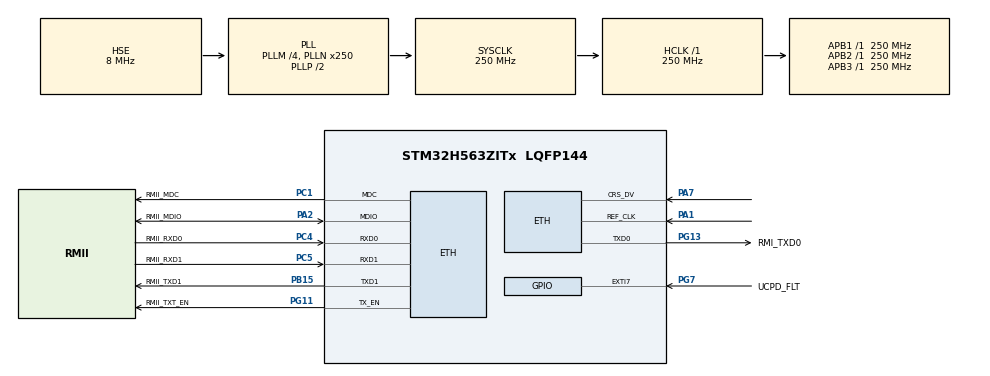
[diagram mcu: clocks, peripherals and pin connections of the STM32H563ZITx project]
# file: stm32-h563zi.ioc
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BOOTPATH.BootPathName=LEGACY
BOOTPATH.UserSelectedBootPath=LEGACY
CORTEX_M33_NS.userName=CORTEX_M33
ETH.MediaInterface=HAL_ETH_RMII_MODE
Mcu.Family=STM32H5
Mcu.Name=STM32H563ZITx
Mcu.Package=LQFP144
NVIC.PriorityGroup=NVIC_PRIORITYGROUP_4
PA1.Mode=RMII
PA1.Signal=ETH_REF_CLK
PA11.GPIO_Label=USB_FS_N
PA11.Signal=USB_DM
PA12.GPIO_Label=USB_FS_P
PA12.Signal=USB_DP
PA13(JTMS/SWDIO).GPIO_Label=SWDIO
PA13(JTMS/SWDIO).Signal=DEBUG_JTMS-SWDIO
PA14(JTCK/SWCLK).GPIO_Label=SWCLK
PA14(JTCK/SWCLK).Signal=DEBUG_JTCK-SWCLK
PA15(JTDI).GPIO_Label=T_JTDI
PA15(JTDI).Signal=DEBUG_JTDI
PA2.GPIO_Label=RMII_MDIO
PA2.GPIO_Mode=GPIO_MODE_AF_PP
PA2.GPIO_PuPd=GPIO_NOPULL
PA2.GPIO_Speed=GPIO_SPEED_FREQ_LOW
PA2.Mode=RMII
PA2.Signal=ETH_MDIO
PA4.GPIO_Label=VBUS_SENSE
PA4.Signal=ADCx_INP18
PA7.Mode=RMII
PA7.Signal=ETH_CRS_DV
PA9.GPIO_Label=UCDP_DBn
PA9.Signal=UCPD1_DB1
PB13.GPIO_Label=UCPD_CC1
PB13.Signal=UCPD1_CC1
PB14.GPIO_Label=UCPD_CC2
PB14.Signal=UCPD1_CC2
PB15.GPIO_Label=RMII_TXD1
PB15.GPIO_Mode=GPIO_MODE_AF_PP
PB15.GPIO_PuPd=GPIO_NOPULL
PB15.GPIO_Speed=GPIO_SPEED_FREQ_LOW
PB15.Mode=RMII
PB15.Signal=ETH_TXD1
PB3(JTDO/TRACESWO).GPIO_Label=SWO
PB3(JTDO/TRACESWO).Signal=DEBUG_JTDO-SWO
PB6.GPIO_Label=ARD_D1_TX
PB6.Signal=LPUART1_TX
PB7.GPIO_Label=ARD_D0_RX
PB7.Signal=LPUART1_RX
PC1.GPIO_Label=RMII_MDC
PC1.GPIO_Mode=GPIO_MODE_AF_PP
PC1.GPIO_PuPd=GPIO_NOPULL
PC1.GPIO_Speed=GPIO_SPEED_FREQ_LOW
PC1.Mode=RMII
PC1.Signal=ETH_MDC
PC14-OSC32_IN(OSC32_IN).Mode=LSE-External-Oscillator
PC14-OSC32_IN(OSC32_IN).Signal=RCC_OSC32_IN
PC15-OSC32_OUT(OSC32_OUT).Mode=LSE-External-Oscillator
PC15-OSC32_OUT(OSC32_OUT).Signal=RCC_OSC32_OUT
PC4.GPIO_Label=RMII_RXD0
PC4.GPIO_Mode=GPIO_MODE_AF_PP
PC4.GPIO_PuPd=GPIO_NOPULL
PC4.GPIO_Speed=GPIO_SPEED_FREQ_LOW
PC4.Mode=RMII
PC4.Signal=ETH_RXD0
PC5.GPIO_Label=RMII_RXD1
PC5.GPIO_Mode=GPIO_MODE_AF_PP
PC5.GPIO_PuPd=GPIO_NOPULL
PC5.GPIO_Speed=GPIO_SPEED_FREQ_LOW
PC5.Mode=RMII
PC5.Signal=ETH_RXD1
PD8.Signal=USART3_TX
PD9.Signal=USART3_RX
PE2.GPIO_Label=TRACE_CK
PE2.Signal=DEBUG_TRACECLK
PE3.GPIO_Label=TRACE_D0
PE3.Signal=DEBUG_TRACED0
PE4.GPIO_Label=TRACE_D1
PE4.Signal=DEBUG_TRACED1
PE5.GPIO_Label=TRACE_D2
PE5.Signal=DEBUG_TRACED2
PE6.GPIO_Label=TRACE_D3
PE6.Signal=DEBUG_TRACED3
PG11.GPIO_Label=RMII_TXT_EN
PG11.GPIO_Mode=GPIO_MODE_AF_PP
PG11.GPIO_PuPd=GPIO_NOPULL
PG11.GPIO_Speed=GPIO_SPEED_FREQ_LOW
PG11.Mode=RMII
PG11.Signal=ETH_TX_EN
PG13.GPIO_Label=RMI_TXD0
PG13.GPIO_Mode=GPIO_MODE_AF_PP
PG13.GPIO_PuPd=GPIO_NOPULL
PG13.GPIO_Speed=GPIO_SPEED_FREQ_LOW
PG13.Mode=RMII
PG13.Signal=ETH_TXD0
PG7.GPIO_Label=UCPD_FLT
PG7.Signal=GPXTI7
PH0-OSC_IN(PH0).GPIO_Label=STLK_MCO
PH0-OSC_IN(PH0).Mode=HSE-External-Clock-Source
PH0-OSC_IN(PH0).Signal=RCC_OSC_IN
ProjectManager.HeapSize=0x200
ProjectManager.StackSize=0x400
ProjectManager.TargetToolchain=CMake
RCC.ADCFreq_Value=250000000
RCC.AHBFreq_Value=250000000
RCC.APB1Freq_Value=250000000
RCC.APB1TimFreq_Value=250000000
RCC.APB2Freq_Value=250000000
RCC.APB2TimFreq_Value=250000000
RCC.APB3Freq_Value=250000000
RCC.CSI_VALUE=4000000
RCC.CortexFreq_Value=250000000
RCC.EPOD_VALUE=8000000
RCC.HCLKFreq_Value=250000000
RCC.HSE_VALUE=8000000
RCC.HSI48_VALUE=48000000
RCC.HSIDiv=RCC_HSI_DIV1
RCC.HSI_VALUE=64000000
RCC.LSIRC_VALUE=32000
RCC.PLLM=4
RCC.PLLN=250
RCC.PLLSourceVirtual=RCC_PLL1_SOURCE_HSE
RCC.SYSCLKFreq_VALUE=250000000
RCC.SYSCLKSource=RCC_SYSCLKSOURCE_PLLCLK
RCC.USBFreq_Value=48000000
RCC.VCOOutputFreq_Value=500000000
SH.ADCx_INP18.0=ADC1_INP18
VP_BOOTPATH_VS_BOOTPATH.Mode=BP_Activate
VP_CORTEX_M33_NS_VS_Hclk.Mode=Hclk_Mode
VP_FLASH_SIG_Activate_FlashIP.Mode=Activate_FlashIP
VP_ICACHE_VS_ICACHE.Mode=DirectMappedCache
VP_MEMORYMAP_VS_MEMORYMAP.Mode=CurAppReg
VP_PWR_VS_DBSignals.Mode=DisableDeadBatterySignals
VP_PWR_VS_LPOM.Mode=PowerOptimisation
VP_PWR_VS_SECSignals.Mode=Security/Privilege
board=NUCLEO-H563ZI

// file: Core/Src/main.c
/* USER CODE BEGIN Header */
/**
 ******************************************************************************
 * @file           : main.c
 * @brief          : Main program body
 ******************************************************************************
 * @attention
 *
 * Copyright (c) 2025 STMicroelectronics.
 * All rights reserved.
 *
 * This software is licensed under terms that can be found in the LICENSE file
 * in the root directory of this software component.
 * If no LICENSE file comes with this software, it is provided AS-IS.
 *
 ******************************************************************************
 */
/* USER CODE END Header */
#include "main.h"
#include "string.h"

/* USER CODE BEGIN Includes */
#include "ethernetif.h"
#include "lwip.h"
#include "lwip/init.h"
#include "lwip/netif.h"
#include "lwip/opt.h"
#include "lwip/timeouts.h"
#include "netif/etharp.h"
#if LWIP_DHCP
#include "lwip/dhcp.h"
#endif
#include <stdbool.h>
/* USER CODE END Includes */

ETH_TxPacketConfigTypeDef TxConfig;
ETH_DMADescTypeDef DMARxDscrTab[ETH_RX_DESC_CNT]; /* Ethernet Rx DMA Descriptors */
ETH_DMADescTypeDef DMATxDscrTab[ETH_TX_DESC_CNT]; /* Ethernet Tx DMA Descriptors */

ETH_HandleTypeDef heth;

/* USER CODE BEGIN PV */
extern struct netif gnetif;
/* USER CODE END PV */

void SystemClock_Config(void);
static void MX_GPIO_Init(void);
// static void MX_ETH_Init(void);
static void MX_FLASH_Init(void);
static void MX_ICACHE_Init(void);
/* USER CODE BEGIN PFP */
static void Netif_Config(void);
/* USER CODE END PFP */

int main(void)
{

    /* MCU Configuration--------------------------------------------------------*/

    /* Reset of all peripherals, Initializes the Flash interface and the Systick. */
    HAL_Init();

    /* Configure the system clock */
    SystemClock_Config();

    /* Initialize all configured peripherals */
    MX_GPIO_Init();
    MX_ETH_Init();
    MX_FLASH_Init();
    MX_ICACHE_Init();
    /* USER CODE BEGIN 2 */
    lwip_init();
    Netif_Config();
    /* USER CODE END 2 */

    /* Infinite loop */
    /* USER CODE BEGIN WHILE */
    BSP_LED_On(LED_GREEN);
    while (1) {
        /* USER CODE END WHILE */

        /* USER CODE BEGIN 3 */

        /* Read a received packet from the Ethernet buffers and send it
            to the lwIP for handling */
        ethernetif_input(&gnetif);

        /* Handle timeouts */
        sys_check_timeouts();

#if LWIP_NETIF_LINK_CALLBACK
        Ethernet_Link_Periodic_Handle(&gnetif);
#endif

#if LWIP_DHCP
        DHCP_Periodic_Handle(&gnetif);
#endif
    }
    /* USER CODE END 3 */
}

void SystemClock_Config(void)
{
    RCC_OscInitTypeDef RCC_OscInitStruct = { 0 };
    RCC_ClkInitTypeDef RCC_ClkInitStruct = { 0 };

    /** Configure the main internal regulator output voltage
     */
    __HAL_PWR_VOLTAGESCALING_CONFIG(PWR_REGULATOR_VOLTAGE_SCALE0);

    while (!__HAL_PWR_GET_FLAG(PWR_FLAG_VOSRDY)) { }

    /** Initializes the RCC Oscillators according to the specified parameters
     * in the RCC_OscInitTypeDef structure.
     */
    RCC_OscInitStruct.OscillatorType = RCC_OSCILLATORTYPE_HSE;
    RCC_OscInitStruct.HSEState = RCC_HSE_BYPASS;
    RCC_OscInitStruct.PLL.PLLState = RCC_PLL_ON;
    RCC_OscInitStruct.PLL.PLLSource = RCC_PLL1_SOURCE_HSE;
    RCC_OscInitStruct.PLL.PLLM = 4;
    RCC_OscInitStruct.PLL.PLLN = 250;
    RCC_OscInitStruct.PLL.PLLP = 2;
    RCC_OscInitStruct.PLL.PLLQ = 2;
    RCC_OscInitStruct.PLL.PLLR = 2;
    RCC_OscInitStruct.PLL.PLLRGE = RCC_PLL1_VCIRANGE_1;
    RCC_OscInitStruct.PLL.PLLVCOSEL = RCC_PLL1_VCORANGE_WIDE;
    RCC_OscInitStruct.PLL.PLLFRACN = 0;
    if (HAL_RCC_OscConfig(&RCC_OscInitStruct) != HAL_OK) {
        Error_Handler();
    }

    /** Initializes the CPU, AHB and APB buses clocks
     */
    RCC_ClkInitStruct.ClockType = RCC_CLOCKTYPE_HCLK | RCC_CLOCKTYPE_SYSCLK
        | RCC_CLOCKTYPE_PCLK1 | RCC_CLOCKTYPE_PCLK2
        | RCC_CLOCKTYPE_PCLK3;
    RCC_ClkInitStruct.SYSCLKSource = RCC_SYSCLKSOURCE_PLLCLK;
    RCC_ClkInitStruct.AHBCLKDivider = RCC_SYSCLK_DIV1;
    RCC_ClkInitStruct.APB1CLKDivider = RCC_HCLK_DIV1;
    RCC_ClkInitStruct.APB2CLKDivider = RCC_HCLK_DIV1;
    RCC_ClkInitStruct.APB3CLKDivider = RCC_HCLK_DIV1;

    if (HAL_RCC_ClockConfig(&RCC_ClkInitStruct, FLASH_LATENCY_5) != HAL_OK) {
        Error_Handler();
    }

    /** Configure the programming delay
     */
    __HAL_FLASH_SET_PROGRAM_DELAY(FLASH_PROGRAMMING_DELAY_2);
}

void MX_ETH_Init(void)
{

    static uint8_t MACAddr[6];

    heth.Instance = ETH;
    MACAddr[0] = 0x00;
    MACAddr[1] = 0x80;
    MACAddr[2] = 0xE1;
    MACAddr[3] = 0x00;
    MACAddr[4] = 0x00;
    MACAddr[5] = 0x00;
    heth.Init.MACAddr = &MACAddr[0];
    heth.Init.MediaInterface = HAL_ETH_RMII_MODE;
    heth.Init.TxDesc = DMATxDscrTab;
    heth.Init.RxDesc = DMARxDscrTab;
    heth.Init.RxBuffLen = 1524;

    if (HAL_ETH_Init(&heth) != HAL_OK) {
        Error_Handler();
    }

    memset(&TxConfig, 0, sizeof(ETH_TxPacketConfigTypeDef));
    TxConfig.Attributes = ETH_TX_PACKETS_FEATURES_CSUM | ETH_TX_PACKETS_FEATURES_CRCPAD;
    TxConfig.ChecksumCtrl = ETH_CHECKSUM_IPHDR_PAYLOAD_INSERT_PHDR_CALC;
    TxConfig.CRCPadCtrl = ETH_CRC_PAD_INSERT;
}

static void MX_FLASH_Init(void)
{

    if (HAL_FLASH_Unlock() != HAL_OK) {
        Error_Handler();
    }
    if (HAL_FLASH_Lock() != HAL_OK) {
        Error_Handler();
    }
}

static void MX_ICACHE_Init(void)
{

    /** Enable instruction cache in 1-way (direct mapped cache)
     */
    if (HAL_ICACHE_ConfigAssociativityMode(ICACHE_1WAY) != HAL_OK) {
        Error_Handler();
    }
    if (HAL_ICACHE_Enable() != HAL_OK) {
        Error_Handler();
    }
}

static void MX_GPIO_Init(void)
{
    GPIO_InitTypeDef GPIO_InitStruct = { 0 };

    /* GPIO Ports Clock Enable */
    __HAL_RCC_GPIOE_CLK_ENABLE();
    __HAL_RCC_GPIOC_CLK_ENABLE();
    __HAL_RCC_GPIOH_CLK_ENABLE();
    __HAL_RCC_GPIOA_CLK_ENABLE();
    __HAL_RCC_GPIOB_CLK_ENABLE();
    __HAL_RCC_GPIOD_CLK_ENABLE();
    __HAL_RCC_GPIOG_CLK_ENABLE();

    /*Configure GPIO pin : VBUS_SENSE_Pin */
    GPIO_InitStruct.Pin = VBUS_SENSE_Pin;
    GPIO_InitStruct.Mode = GPIO_MODE_ANALOG;
    GPIO_InitStruct.Pull = GPIO_NOPULL;
    HAL_GPIO_Init(VBUS_SENSE_GPIO_Port, &GPIO_InitStruct);

    /*Configure GPIO pins : UCPD_CC1_Pin UCPD_CC2_Pin */
    GPIO_InitStruct.Pin = UCPD_CC1_Pin | UCPD_CC2_Pin;
    GPIO_InitStruct.Mode = GPIO_MODE_ANALOG;
    GPIO_InitStruct.Pull = GPIO_NOPULL;
    HAL_GPIO_Init(GPIOB, &GPIO_InitStruct);

    /*Configure GPIO pins : PD8 PD9 */
    GPIO_InitStruct.Pin = GPIO_PIN_8 | GPIO_PIN_9;
    GPIO_InitStruct.Mode = GPIO_MODE_AF_PP;
    GPIO_InitStruct.Pull = GPIO_NOPULL;
    GPIO_InitStruct.Speed = GPIO_SPEED_FREQ_LOW;
    GPIO_InitStruct.Alternate = GPIO_AF7_USART3;
    HAL_GPIO_Init(GPIOD, &GPIO_InitStruct);

    /*Configure GPIO pin : UCPD_FLT_Pin */
    GPIO_InitStruct.Pin = UCPD_FLT_Pin;
    GPIO_InitStruct.Mode = GPIO_MODE_IT_RISING;
    GPIO_InitStruct.Pull = GPIO_NOPULL;
    HAL_GPIO_Init(UCPD_FLT_GPIO_Port, &GPIO_InitStruct);

    /*Configure GPIO pins : USB_FS_N_Pin USB_FS_P_Pin */
    GPIO_InitStruct.Pin = USB_FS_N_Pin | USB_FS_P_Pin;
    GPIO_InitStruct.Mode = GPIO_MODE_AF_PP;
    GPIO_InitStruct.Pull = GPIO_NOPULL;
    GPIO_InitStruct.Speed = GPIO_SPEED_FREQ_LOW;
    GPIO_InitStruct.Alternate = GPIO_AF10_USB;
    HAL_GPIO_Init(GPIOA, &GPIO_InitStruct);

    /*Configure GPIO pins : ARD_D1_TX_Pin ARD_D0_RX_Pin */
    GPIO_InitStruct.Pin = ARD_D1_TX_Pin | ARD_D0_RX_Pin;
    GPIO_InitStruct.Mode = GPIO_MODE_AF_PP;
    GPIO_InitStruct.Pull = GPIO_NOPULL;
    GPIO_InitStruct.Speed = GPIO_SPEED_FREQ_LOW;
    GPIO_InitStruct.Alternate = GPIO_AF8_LPUART1;
    HAL_GPIO_Init(GPIOB, &GPIO_InitStruct);

}

/* USER CODE BEGIN 4 */
/**
 * @brief  Setup the network interface
 */
static void Netif_Config(void)
{
    ip_addr_t ipaddr;
    ip_addr_t netmask;
    ip_addr_t gw;

    /* IP address default setting */
    IP4_ADDR(&ipaddr, IP_ADDR0, IP_ADDR1, IP_ADDR2, IP_ADDR3);
    IP4_ADDR(&netmask, NETMASK_ADDR0, NETMASK_ADDR1, NETMASK_ADDR2, NETMASK_ADDR3);
    IP4_ADDR(&gw, GW_ADDR0, GW_ADDR1, GW_ADDR2, GW_ADDR3);

    /* add the network interface */
    netif_add(&gnetif, &ipaddr, &netmask, &gw, NULL, &ethernetif_init,
        &ethernet_input);
    /*  Registers the default network interface */
    netif_set_default(&gnetif);
#if LWIP_NETIF_LINK_CALLBACK
    netif_set_link_callback(&gnetif, ethernet_link_status_updated);
    ethernet_link_status_updated(&gnetif);
#endif

#if LWIP_DHCP
    dhcp_start(&gnetif);
#endif
}
/* USER CODE END 4 */

void Error_Handler(void)
{
    __disable_irq();
    while (1) {
    }
}
